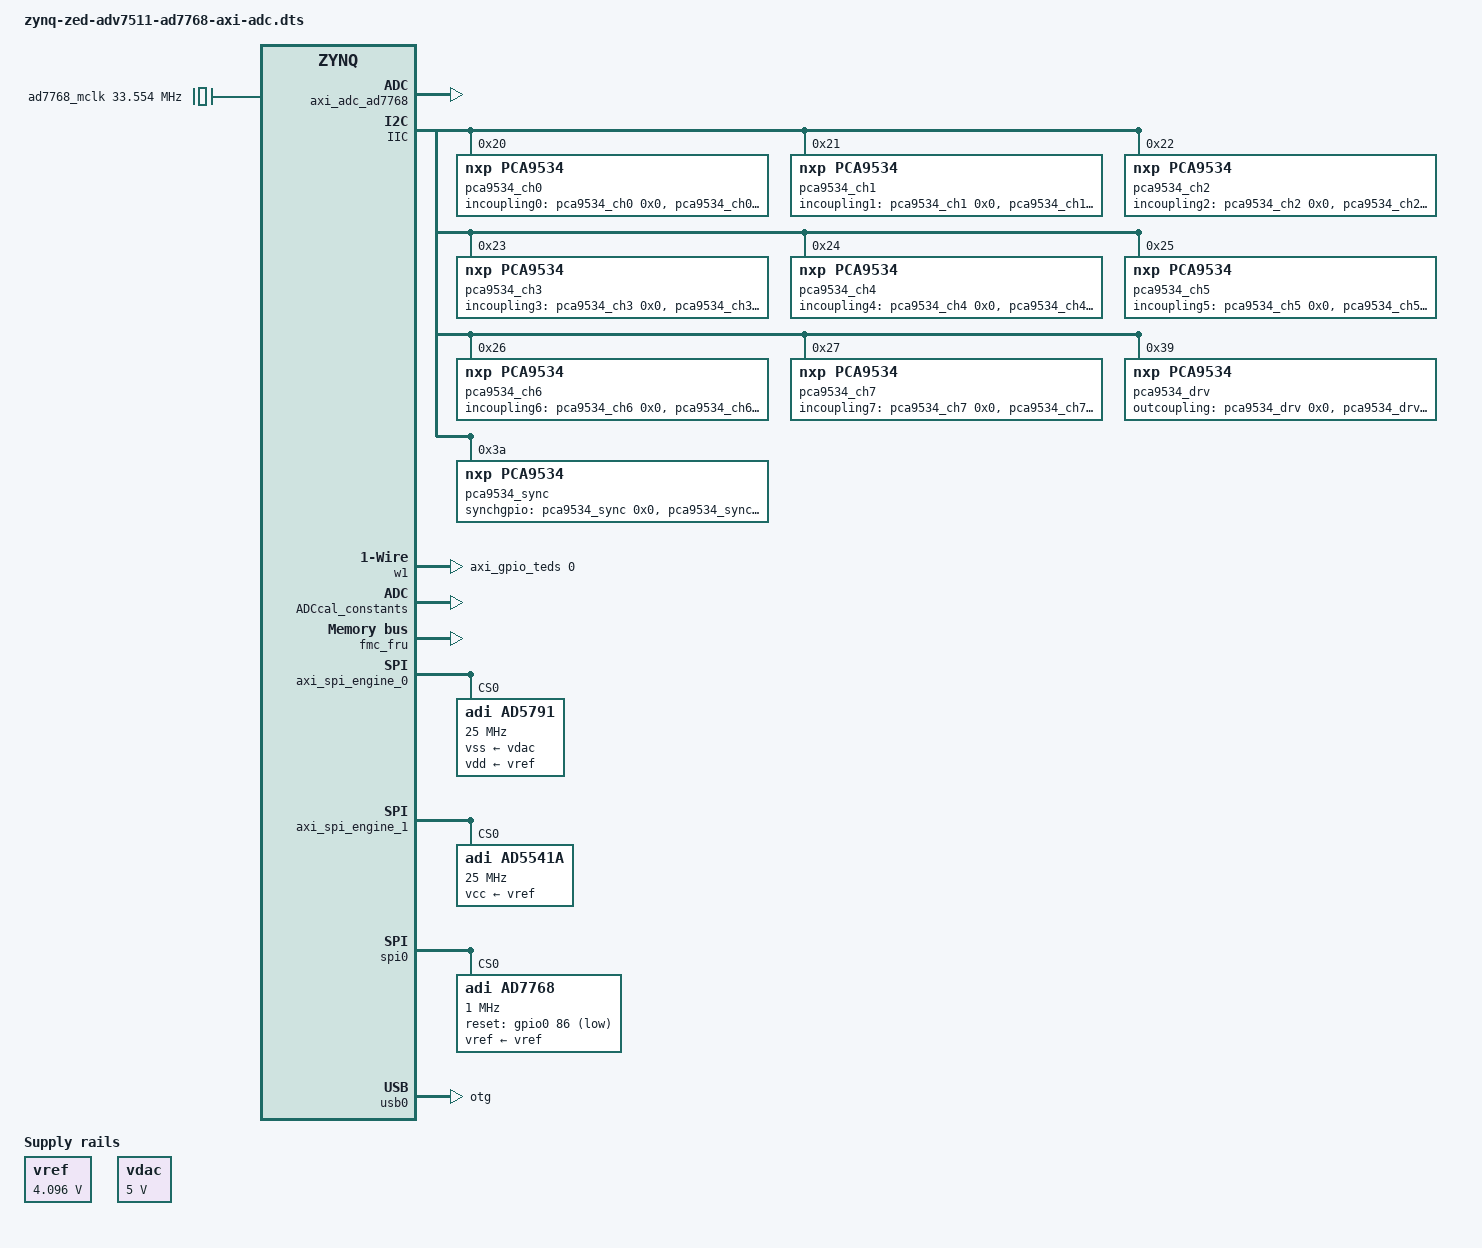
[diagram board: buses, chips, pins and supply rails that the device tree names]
// SPDX-License-Identifier: GPL-2.0
/*
 * Analog Devices AD7768
 * https://wiki.analog.com/resources/tools-software/linux-drivers/iio-adc/ad7768
 *
 * hdl_project: <ad7768evb/zed>
 * board_revision: <>
 *
 * Copyright (C) 2020 Analog Devices Inc.
 */
/dts-v1/;

#include "zynq-zed.dtsi"
#include "zynq-zed-adv7511.dtsi"
#include <dt-bindings/gpio/gpio.h>

/ {
	vref: regulator-vref {
		compatible = "regulator-fixed";
		regulator-name = "fixed-supply";
		regulator-min-microvolt = <4096000>;
		regulator-max-microvolt = <4096000>;
		regulator-always-on;
	};
	
	vdac: regulator-vdac {
		compatible = "regulator-fixed";
		regulator-name = "dac-supply";
		regulator-min-microvolt = <5000000>;
		regulator-max-microvolt = <5000000>;
		regulator-always-on;
	};

	clocks {
		ad7768_mclk: clock@0 {
			#clock-cells = <0>;
			compatible = "fixed-clock";
			clock-frequency = <33554432>;
		};
	};
};

&fpga_axi {
	rx_dma: rx-dmac@0x7c480000 {
		compatible = "adi,axi-dmac-1.00.a";
		reg = <0x7c480000 0x10000>;
		#dma-cells = <1>;
		interrupts = <0 54 IRQ_TYPE_LEVEL_HIGH>;
		clocks = <&clkc 16>;
		dma-coherent;

		adi,channels {
			#size-cells = <0>;
			#address-cells = <1>;

			dma-channel@0 {
				reg = <0>;
				adi,source-bus-width = <512>;
				adi,source-bus-type = <2>;
				adi,destination-bus-width = <64>;
				adi,destination-bus-type = <0>;
				adi,cyclic;
			};
		};
	};
	
	tx_dma: tx-dmac@42200000 {
		compatible = "adi,axi-dmac-1.00.a";
		reg = <0x42200000 0x40000>;
		#dma-cells = <1>;
		interrupts = <0 53 IRQ_TYPE_LEVEL_HIGH>;
		clocks = <&clkc 15>;
		adi,channels {
			#size-cells = <0>;
			#address-cells = <1>;

			dma-channel@0 {
				reg = <0>;
				adi,source-bus-width = <64>;
				adi,source-bus-type = <0>;
				adi,destination-bus-width = <32>;
				adi,destination-bus-type = <2>;
		//		adi,cyclic;
			};
		};
	};
	
	cola_dma: cola-dmac@44a30000 {
		compatible = "adi,axi-dmac-1.00.a";
		reg = <0x44a30000 0x10000>;
		#dma-cells = <1>;
		interrupts = <0 36 IRQ_TYPE_LEVEL_HIGH>;
		clocks = <&clkc 15>;
		adi,channels {
			#size-cells = <0>;
			#address-cells = <1>;

			dma-channel@0 {
				reg = <0>;
				adi,source-bus-width = <64>;
				adi,source-bus-type = <0>;
				adi,destination-bus-width = <32>;
				adi,destination-bus-type = <2>;
		//		adi,cyclic;
			};
		};
	};
	
	axi_adc_ad7768: cf_axi_adc@43c00000 {
		compatible = "adi,axi-adc-10.0.a";
		reg = <0x43c00000 0x10000>;
		dmas = <&rx_dma 0>;
		dma-names = "rx";
		spibus-connected = <&ad7768>;
	};
	
	IIC: i2c@40800000 {
		#address-cells = <1>;
		#size-cells = <0>;
		compatible = "xlnx,xps-iic-2.00.a";
		clocks = <&clkc 15>;
		reg = <0x40800000 0x10000>;
		interrupt-parent = <&intc>;
		interrupts = <0 34 IRQ_TYPE_LEVEL_HIGH>;		
		pca9534_ch0: pca9534@20 {
			compatible = "nxp,pca9534";
			reg = <0x20>;
			gpio-controller;
			#gpio-cells = <2>;	
			incoupling0-gpios = <&pca9534_ch0 0x0 GPIO_ACTIVE_HIGH>,
								<&pca9534_ch0 0x1 GPIO_ACTIVE_HIGH>,
								<&pca9534_ch0 0x2 GPIO_ACTIVE_HIGH>,
								<&pca9534_ch0 0x3 GPIO_ACTIVE_HIGH>,
								<&pca9534_ch0 0x4 GPIO_ACTIVE_HIGH>;			
		};
		pca9534_ch1: pca9534@21 {
			compatible = "nxp,pca9534";
			gpio-controller;
			reg = <0x21>;
			#gpio-cells = <2>;		
			incoupling1-gpios = <&pca9534_ch1 0x0 GPIO_ACTIVE_HIGH>,
								<&pca9534_ch1 0x1 GPIO_ACTIVE_HIGH>,
								<&pca9534_ch1 0x2 GPIO_ACTIVE_HIGH>,
								<&pca9534_ch1 0x3 GPIO_ACTIVE_HIGH>,
								<&pca9534_ch1 0x4 GPIO_ACTIVE_HIGH>;
		};
		pca9534_ch2: pca9534@22 {
			compatible = "nxp,pca9534";
			reg = <0x22>;
			gpio-controller;
			#gpio-cells = <2>;	
			incoupling2-gpios = <&pca9534_ch2 0x0 GPIO_ACTIVE_HIGH>,
								<&pca9534_ch2 0x1 GPIO_ACTIVE_HIGH>,
								<&pca9534_ch2 0x2 GPIO_ACTIVE_HIGH>,
								<&pca9534_ch2 0x3 GPIO_ACTIVE_HIGH>,
								<&pca9534_ch2 0x4 GPIO_ACTIVE_HIGH>;			
		};
		pca9534_ch3: pca9534@23 {
			compatible = "nxp,pca9534";
			gpio-controller;
			reg = <0x23>;
			#gpio-cells = <2>;		
			incoupling3-gpios = <&pca9534_ch3 0x0 GPIO_ACTIVE_HIGH>,
								<&pca9534_ch3 0x1 GPIO_ACTIVE_HIGH>,
								<&pca9534_ch3 0x2 GPIO_ACTIVE_HIGH>,
								<&pca9534_ch3 0x3 GPIO_ACTIVE_HIGH>,
								<&pca9534_ch3 0x4 GPIO_ACTIVE_HIGH>;
		};
		pca9534_ch4: pca9534@24 {
			compatible = "nxp,pca9534";
			reg = <0x24>;
			gpio-controller;
			#gpio-cells = <2>;	
			incoupling4-gpios = <&pca9534_ch4 0x0 GPIO_ACTIVE_HIGH>,
								<&pca9534_ch4 0x1 GPIO_ACTIVE_HIGH>,
								<&pca9534_ch4 0x2 GPIO_ACTIVE_HIGH>,
								<&pca9534_ch4 0x3 GPIO_ACTIVE_HIGH>,
								<&pca9534_ch4 0x4 GPIO_ACTIVE_HIGH>;			
		};
		pca9534_ch5: pca9534@25 {
			compatible = "nxp,pca9534";
			gpio-controller;
			reg = <0x25>;
			#gpio-cells = <2>;		
			incoupling5-gpios = <&pca9534_ch5 0x0 GPIO_ACTIVE_HIGH>,
								<&pca9534_ch5 0x1 GPIO_ACTIVE_HIGH>,
								<&pca9534_ch5 0x2 GPIO_ACTIVE_HIGH>,
								<&pca9534_ch5 0x3 GPIO_ACTIVE_HIGH>,
								<&pca9534_ch5 0x4 GPIO_ACTIVE_HIGH>;
		};
		pca9534_ch6: pca9534@26 {
			compatible = "nxp,pca9534";
			reg = <0x26>;
			gpio-controller;
			#gpio-cells = <2>;	
			incoupling6-gpios = <&pca9534_ch6 0x0 GPIO_ACTIVE_HIGH>,
								<&pca9534_ch6 0x1 GPIO_ACTIVE_HIGH>,
								<&pca9534_ch6 0x2 GPIO_ACTIVE_HIGH>,
								<&pca9534_ch6 0x3 GPIO_ACTIVE_HIGH>,
								<&pca9534_ch6 0x4 GPIO_ACTIVE_HIGH>;			
		};
		pca9534_ch7: pca9534@27 {
			compatible = "nxp,pca9534";
			gpio-controller;
			reg = <0x27>;
			#gpio-cells = <2>;		
			incoupling7-gpios = <&pca9534_ch7 0x0 GPIO_ACTIVE_HIGH>,
								<&pca9534_ch7 0x1 GPIO_ACTIVE_HIGH>,
								<&pca9534_ch7 0x2 GPIO_ACTIVE_HIGH>,
								<&pca9534_ch7 0x3 GPIO_ACTIVE_HIGH>,
								<&pca9534_ch7 0x4 GPIO_ACTIVE_HIGH>;
		};
		pca9534_drv: pca9534@39 {
			compatible = "nxp,pca9534";			
			reg = <0x39>;
			gpio-controller;
			#gpio-cells = <2>;			
			outcoupling-gpios = <&pca9534_drv 0x0 GPIO_ACTIVE_HIGH>,
								<&pca9534_drv 0x1 GPIO_ACTIVE_HIGH>,
								<&pca9534_drv 0x2 GPIO_ACTIVE_HIGH>,
								<&pca9534_drv 0x3 GPIO_ACTIVE_HIGH>,
								<&pca9534_drv 0x4 GPIO_ACTIVE_HIGH>,
								<&pca9534_drv 0x5 GPIO_ACTIVE_HIGH>;									
		};
		pca9534_sync: pca9534@3a {
			compatible = "nxp,pca9534";			
			reg = <0x3a>;
			gpio-controller;
			#gpio-cells = <2>;	
			synchgpio-gpios = <&pca9534_sync 0x0 GPIO_ACTIVE_HIGH>,
								<&pca9534_sync 0x1 GPIO_ACTIVE_HIGH>,
								<&pca9534_sync 0x2 GPIO_ACTIVE_HIGH>,
								<&pca9534_sync 0x3 GPIO_ACTIVE_HIGH>,
								<&pca9534_sync 0x4 GPIO_ACTIVE_HIGH>,
								<&pca9534_sync 0x5 GPIO_ACTIVE_HIGH>,
								<&pca9534_sync 0x6 GPIO_ACTIVE_HIGH>,
								<&pca9534_sync 0x7 GPIO_ACTIVE_HIGH>;		/* for now	*/			
		};
	};	
	
	axi_gpio_teds: gpio@40090000 {
		#gpio-cells = <2>;
		clock-names = "s_axi_aclk";
		clocks = <&clkc 15>;
		compatible = "xlnx,xps-gpio-1.00.a";
		gpio-controller;
		reg = <0x40090000 0x10000>;
		xlnx,all-inputs = <0x0>;
		xlnx,all-outputs = <0x0>;
		xlnx,dout-default = <0x0>;
		xlnx,gpio-width = <0x1>;
		xlnx,interrupt-present = <0x0>;
		xlnx,is-dual = <0x0>;
		xlnx,tri-default = <0x0>;
		
	};
	w1: onewire@0 {
			compatible = "w1-gpio";
			gpios = <&axi_gpio_teds 0 0x0>;
		/*	linux,open-drain;*/
			status = "okay";
		};	
		
	DriveScale_1: DriveScale@40000000 {
		clock-names = "ap_clk";
		clocks = <&clkc 15>;
		compatible = "sd,drivescale";
		reg = <0x40000000 0x10000>;
	};
	
	ADCcal_constants: adccal_constants@40010000 {
	 	/* consolidated 8-channel ADCCountsToFloat8 core (all cal factors) */
		clock-names = "ap_clk";
		clocks = <&clkc 16>;
		compatible = "sd,adccal-constants";
		reg = <0x40010000 0x10000>;
		xlnx,s-axi-control-addr-width = <0xa>;
		xlnx,s-axi-control-data-width = <0x20>;
	};







	
	Synch0: Synch@400a0000 {
		clock-names = "ap_clk";
		clocks = <&clkc 15>;
		compatible = "sd,synch";
		reg = <0x400a0000 0x10000>;
		xlnx,s-axi-control-addr-width = <0x6>;
		xlnx,s-axi-control-data-width = <0x20>;
	};

	/* FMC FRU EEPROM identity as IIO device attributes (panther_fru driver).
	 * eeprom1 = the at24 FMC FRU EEPROM already defined in zynq-zed-adv7511.dtsi. */
	fmc_fru {
		compatible = "sd,fru";
		nvmem = <&eeprom1>;
		nvmem-names = "fru";
	};
	
	streamToData_ctrl: streamToData_ctrl@400d0000 {
		clock-names = "ap_clk";
		clocks = <&clkc 15>;
		compatible = "dmem-uio";
		reg = <0x400d0000 0x10000>;
		xlnx,s-axi-control-addr-width = <0x5>;
		xlnx,s-axi-control-data-width = <0x20>;
	};
/*
	tacho_control@400c0000 {
		clock-names = "ap_clk";
		clocks = <&clkc 15>;
		compatible = "sd,tacho-control";
		reg = <0x400c0000 0x10000>;
		xlnx,s-axi-control-addr-width = <0x06>;
		xlnx,s-axi-control-data-width = <0x20>;
	};

	tacho@400b0000 {
		clock-names = "ap_clk";
		clocks = <&clkc 15>;
		compatible = "sd,tacho";
		reg = <0x400b0000 0x10000>;
		xlnx,s-axi-control-addr-width = <0x06>;
		xlnx,s-axi-control-data-width = <0x20>;
	};
	
	/*Rampdown0: Rampdown@400b0000 {
	 	/* This is a place holder node for a custom IP, user may need to update the entries 
		clock-names = "ap_clk";
		clocks = <&clkc 15>;
		compatible = "dmem-uio";
		reg = <0x400b0000 0x10000>;
		xlnx,s-axi-control-addr-width = <0x6>;
		xlnx,s-axi-control-data-width = <0x20>; 
	};
/*	
	axi_gpio_0: gpio@400b0000 {
		#gpio-cells = <2>;
		//compatible = "xlnx,xps-gpio-1.00.a";
		compatible = "generic-uio";
		gpio-controller;
	//	interrupt-controller;
//		interrupt-parent = <&intc>;
	//	interrupts = <0 56 IRQ_TYPE_LEVEL_HIGH>; 
	//	interrupt-names = "ip2intc_irpt";
		reg = <0x400b0000 0x10000>;
		xlnx,all-inputs = <0x1>;
		xlnx,all-inputs-2 = <0x1>;
		xlnx,all-outputs = <0x0>;
		xlnx,all-outputs-2 = <0x0>;
		xlnx,dout-default = <0x00000000>;
		xlnx,dout-default-2 = <0x00000000>;
		xlnx,gpio-width = <0x1>;
		xlnx,gpio2-width = <0x1>;
		xlnx,interrupt-present = <0x0>;
		xlnx,is-dual = <0x0>;
		xlnx,tri-default = <0xFFFFFFFF>;
		xlnx,tri-default-2 = <0xFFFFFFFF>;
		
	};

	gpio-keys {
		compatible = "gpio-keys";
		interrupt-parent = <&axi_gpio_0>;
		#address-cells = <1>;
		#size-cells = <0>;
		autorepeat;
		button {
			label = "Button";			
			interrupts = <0 IRQ_TYPE_EDGE_BOTH>;
			linux,code = <1>;
			gpio-key,wakeup;
			gpios = <&axi_gpio_0 0 0>; 
		};
	};
*/		
	axi_spi_engine_0: spi@42000000 {
		compatible = "adi,axi-spi-engine-1.00.a";
		reg = <0x42000000 0x40000>;
		interrupt-parent = <&intc>;
		interrupts = <0 52 IRQ_TYPE_LEVEL_HIGH>;
		clocks = <&clkc 15 &clkc 15>;
		clock-names = "s_axi_aclk", "spi_clk";
		num-cs = <1>;

		#address-cells = <0x1>;
		#size-cells = <0x0>;
		ad5791: dac@0 {
			compatible = "adi,ad5791";
			reg = <0>;
			spi-max-frequency = <25000000>;
	//		spi-cpha;
			spi-cpol;
			vss-supply = <&vdac>; /* probably needs to be vdac 5.0V */
			vdd-supply = <&vref>;	
			dmas = <&tx_dma 0>;
			dma-names = "tx";	
		
		};		
	};
	
	axi_spi_engine_1: spi@44a40000 {
		compatible = "adi,axi-spi-engine-1.00.a";
		reg = <0x44a40000 0x10000>;
		interrupt-parent = <&intc>;
		interrupts = <0 35 IRQ_TYPE_LEVEL_HIGH>;
		clocks = <&clkc 15 &clkc 15>;
		clock-names = "s_axi_aclk", "spi_clk";
		num-cs = <1>;

		#address-cells = <0x1>;
		#size-cells = <0x0>;	
		
		ad5541a: cola@0 {
			compatible = "adi,ad5541a";
			reg = <0>;
			spi-max-frequency = <25000000>; 
			spi-cpha;
			spi-cpol;
			vcc-supply = <&vref>;	
			dmas = <&cola_dma 0>;
			dma-names = "tx";		
		};
	};
};



&spi0 {
	status = "okay";

	ad7768: adc@0 {
		compatible = "adi,ad7768";
		reg = <0>;
		spi-max-frequency = <1000000>;
		interrupt-parent = <&intc>;
		interrupts = <0 56 IRQ_TYPE_LEVEL_LOW>;
		vref-supply = <&vref>;
		reset-gpios = <&gpio0 86 GPIO_ACTIVE_LOW>;
	/*	start-gpios = <&gpio0 87 GPIO_ACTIVE_HIGH>; uncomment for eval board */
		clocks = <&ad7768_mclk>;
		clock-names = "mclk";
		adi,data-lines = <8>;		
	};
};

&usb0 {
	dr_mode = "otg";
};

/* HDMI/audio subsystem removed from the PL fabric (Panther15 HDMI-removal
 * build, 2026-07-10). The adv7511/adau1761 chips remain on I2C but their
 * drivers are disabled; the axi_hdmi/spdif/i2s/clkgen cores no longer exist
 * in the bitstream. Shared zynq-zed-adv7511.dtsi is intentionally untouched. */
&adv7511 { status = "disabled"; };
&adau1761 { status = "disabled"; };
&hdmi_dma { status = "disabled"; };
&hdmi_clock { status = "disabled"; };
&axi_spdif_tx_0 { status = "disabled"; };
&axi_i2s_0 { status = "disabled"; };

&fpga_axi {
	axi_hdmi@70e00000 { status = "disabled"; };
};

/ {
	adv7511_hdmi_snd { status = "disabled"; };
	zed_sound { status = "disabled"; };
};
